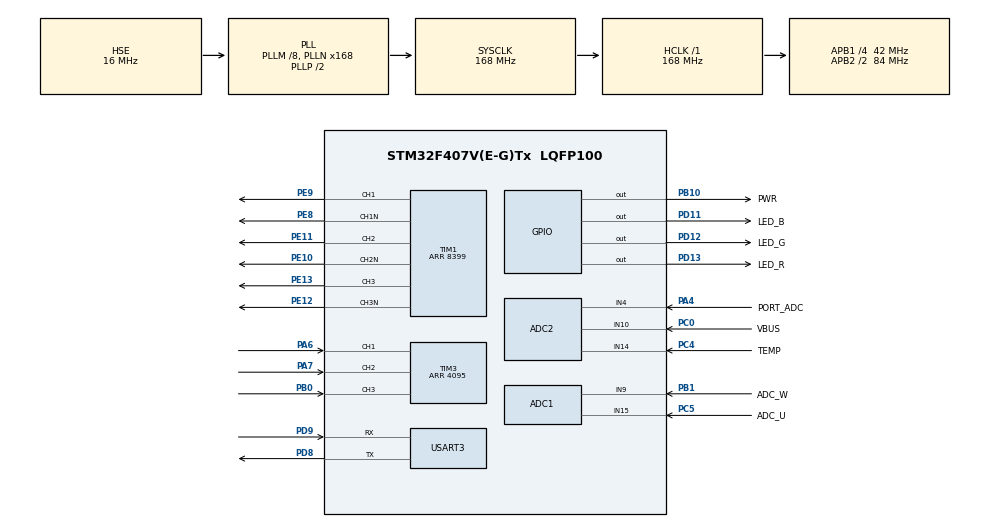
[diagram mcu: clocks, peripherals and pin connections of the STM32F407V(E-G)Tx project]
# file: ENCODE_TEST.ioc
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ADC1.Channel-0\#ChannelRegularConversion=ADC_CHANNEL_9
ADC1.Channel-5\#ChannelInjectedConversion=ADC_CHANNEL_15
ADC1.Channel-6\#ChannelInjectedConversion=ADC_CHANNEL_9
ADC1.ContinuousConvMode=DISABLE
ADC1.DMAContinuousRequests=DISABLE
ADC1.ExternalTrigInjecConv=ADC_EXTERNALTRIGINJECCONV_T1_TRGO
ADC1.InjNumberOfConversion=2
ADC1.InjectedConvMode=None
ADC1.InjectedOffset-5\#ChannelInjectedConversion=0
ADC1.InjectedOffset-6\#ChannelInjectedConversion=0
ADC1.InjectedRank-5\#ChannelInjectedConversion=1
ADC1.InjectedRank-6\#ChannelInjectedConversion=2
ADC1.NbrOfConversion=1
ADC1.NbrOfConversionFlag=1
ADC1.Rank-0\#ChannelRegularConversion=1
ADC1.SamplingTime-0\#ChannelRegularConversion=ADC_SAMPLETIME_56CYCLES
ADC1.SamplingTime-5\#ChannelInjectedConversion=ADC_SAMPLETIME_56CYCLES
ADC1.SamplingTime-6\#ChannelInjectedConversion=ADC_SAMPLETIME_56CYCLES
ADC1.ScanConvMode=ENABLE
ADC1.master=1
ADC2.Channel-0\#ChannelRegularConversion=ADC_CHANNEL_14
ADC2.Channel-1\#ChannelRegularConversion=ADC_CHANNEL_10
ADC2.Channel-2\#ChannelRegularConversion=ADC_CHANNEL_4
ADC2.ContinuousConvMode=ENABLE
ADC2.DMAContinuousRequests=ENABLE
ADC2.NbrOfConversion=3
ADC2.NbrOfConversionFlag=1
ADC2.Rank-0\#ChannelRegularConversion=1
ADC2.Rank-1\#ChannelRegularConversion=2
ADC2.Rank-2\#ChannelRegularConversion=3
ADC2.SamplingTime-0\#ChannelRegularConversion=ADC_SAMPLETIME_56CYCLES
ADC2.SamplingTime-1\#ChannelRegularConversion=ADC_SAMPLETIME_56CYCLES
ADC2.SamplingTime-2\#ChannelRegularConversion=ADC_SAMPLETIME_56CYCLES
Dma.ADC2.2.Direction=DMA_PERIPH_TO_MEMORY
Dma.ADC2.2.FIFOMode=DMA_FIFOMODE_DISABLE
Dma.ADC2.2.Instance=DMA2_Stream2
Dma.ADC2.2.MemDataAlignment=DMA_MDATAALIGN_HALFWORD
Dma.ADC2.2.MemInc=DMA_MINC_ENABLE
Dma.ADC2.2.Mode=DMA_CIRCULAR
Dma.ADC2.2.PeriphDataAlignment=DMA_PDATAALIGN_HALFWORD
Dma.ADC2.2.PeriphInc=DMA_PINC_DISABLE
Dma.ADC2.2.Priority=DMA_PRIORITY_LOW
Dma.Request0=USART3_RX
Dma.Request1=USART3_TX
Dma.Request2=ADC2
Dma.USART3_RX.0.Direction=DMA_PERIPH_TO_MEMORY
Dma.USART3_RX.0.FIFOMode=DMA_FIFOMODE_DISABLE
Dma.USART3_RX.0.Instance=DMA1_Stream1
Dma.USART3_RX.0.MemDataAlignment=DMA_MDATAALIGN_BYTE
Dma.USART3_RX.0.MemInc=DMA_MINC_ENABLE
Dma.USART3_RX.0.Mode=DMA_NORMAL
Dma.USART3_RX.0.PeriphDataAlignment=DMA_PDATAALIGN_BYTE
Dma.USART3_RX.0.PeriphInc=DMA_PINC_DISABLE
Dma.USART3_RX.0.Priority=DMA_PRIORITY_LOW
Dma.USART3_TX.1.Direction=DMA_MEMORY_TO_PERIPH
Dma.USART3_TX.1.FIFOMode=DMA_FIFOMODE_DISABLE
Dma.USART3_TX.1.Instance=DMA1_Stream3
Dma.USART3_TX.1.MemDataAlignment=DMA_MDATAALIGN_BYTE
Dma.USART3_TX.1.MemInc=DMA_MINC_ENABLE
Dma.USART3_TX.1.Mode=DMA_NORMAL
Dma.USART3_TX.1.PeriphDataAlignment=DMA_PDATAALIGN_BYTE
Dma.USART3_TX.1.PeriphInc=DMA_PINC_DISABLE
Dma.USART3_TX.1.Priority=DMA_PRIORITY_LOW
Mcu.Family=STM32F4
Mcu.Name=STM32F407V(E-G)Tx
Mcu.Package=LQFP100
NVIC.ADC_IRQn=true\:0\:0\:false\:false\:true\:true\:true\:true
NVIC.DMA1_Stream1_IRQn=true\:0\:0\:false\:false\:true\:false\:true\:true
NVIC.DMA1_Stream3_IRQn=true\:0\:0\:false\:false\:true\:false\:true\:true
NVIC.DMA2_Stream2_IRQn=true\:0\:0\:false\:false\:true\:false\:true\:true
NVIC.PriorityGroup=NVIC_PRIORITYGROUP_4
NVIC.TIM1_UP_TIM10_IRQn=true\:0\:0\:false\:false\:true\:true\:true\:true
NVIC.TIM3_IRQn=true\:0\:0\:false\:false\:true\:true\:true\:true
NVIC.USART3_IRQn=true\:0\:0\:false\:false\:true\:true\:true\:true
PA13.Mode=Serial_Wire
PA13.Signal=SYS_JTMS-SWDIO
PA14.Mode=Serial_Wire
PA14.Signal=SYS_JTCK-SWCLK
PA4.GPIO_Label=PORT_ADC
PA4.Signal=ADCx_IN4
PA6.Signal=S_TIM3_CH1
PA7.Signal=S_TIM3_CH2
PB0.Signal=S_TIM3_CH3
PB1.GPIO_Label=ADC_W
PB1.Signal=ADCx_IN9
PB10.GPIO_Label=PWR
PB10.PinState=GPIO_PIN_SET
PB10.Signal=GPIO_Output
PC0.GPIO_Label=VBUS
PC0.Signal=ADCx_IN10
PC4.GPIO_Label=TEMP
PC4.Signal=ADCx_IN14
PC5.GPIO_Label=ADC_U
PC5.Signal=ADCx_IN15
PD11.GPIO_Label=LED_B
PD11.PinState=GPIO_PIN_SET
PD11.Signal=GPIO_Output
PD12.GPIO_Label=LED_G
PD12.PinState=GPIO_PIN_SET
PD12.Signal=GPIO_Output
PD13.GPIO_Label=LED_R
PD13.PinState=GPIO_PIN_SET
PD13.Signal=GPIO_Output
PD8.Mode=Asynchronous
PD8.Signal=USART3_TX
PD9.Mode=Asynchronous
PD9.Signal=USART3_RX
PE10.Mode=PWM Generation2 CH2 CH2N
PE10.Signal=TIM1_CH2N
PE11.Signal=S_TIM1_CH2
PE12.Mode=PWM Generation3 CH3 CH3N
PE12.Signal=TIM1_CH3N
PE13.Signal=S_TIM1_CH3
PE8.Mode=PWM Generation1 CH1 CH1N
PE8.Signal=TIM1_CH1N
PE9.Signal=S_TIM1_CH1
PH0-OSC_IN.Mode=HSE-External-Oscillator
PH0-OSC_IN.Signal=RCC_OSC_IN
PH1-OSC_OUT.Mode=HSE-External-Oscillator
PH1-OSC_OUT.Signal=RCC_OSC_OUT
ProjectManager.HeapSize=0x200
ProjectManager.StackSize=0x400
ProjectManager.TargetToolchain=Makefile
RCC.48MHZClocksFreq_Value=84000000
RCC.AHBFreq_Value=168000000
RCC.APB1CLKDivider=RCC_HCLK_DIV4
RCC.APB1Freq_Value=42000000
RCC.APB1TimFreq_Value=84000000
RCC.APB2CLKDivider=RCC_HCLK_DIV2
RCC.APB2Freq_Value=84000000
RCC.APB2TimFreq_Value=168000000
RCC.CortexFreq_Value=168000000
RCC.HCLKFreq_Value=168000000
RCC.HSE_VALUE=16000000
RCC.HSI_VALUE=16000000
RCC.LSE_VALUE=32768
RCC.PLLM=8
RCC.PLLN=168
RCC.PLLSourceVirtual=RCC_PLLSOURCE_HSE
RCC.SYSCLKFreq_VALUE=168000000
RCC.SYSCLKSource=RCC_SYSCLKSOURCE_PLLCLK
RCC.VCOOutputFreq_Value=336000000
SH.ADCx_IN10.0=ADC2_IN10,IN10
SH.ADCx_IN14.0=ADC2_IN14,IN14
SH.ADCx_IN15.0=ADC1_IN15,IN15
SH.ADCx_IN4.0=ADC2_IN4,IN4
SH.ADCx_IN9.0=ADC1_IN9,IN9
SH.S_TIM1_CH1.0=TIM1_CH1,PWM Generation1 CH1 CH1N
SH.S_TIM1_CH2.0=TIM1_CH2,PWM Generation2 CH2 CH2N
SH.S_TIM1_CH3.0=TIM1_CH3,PWM Generation3 CH3 CH3N
SH.S_TIM3_CH1.0=TIM3_CH1,Encoder_Interface
SH.S_TIM3_CH2.0=TIM3_CH2,Encoder_Interface
SH.S_TIM3_CH3.0=TIM3_CH3,Input_Capture3_from_TI3
TIM1.Channel-PWM\ Generation1\ CH1\ CH1N=TIM_CHANNEL_1
TIM1.Channel-PWM\ Generation2\ CH2\ CH2N=TIM_CHANNEL_2
TIM1.Channel-PWM\ Generation3\ CH3\ CH3N=TIM_CHANNEL_3
TIM1.CounterMode=TIM_COUNTERMODE_CENTERALIGNED1
TIM1.DeadTime=100
TIM1.OCMode_PWM-PWM\ Generation1\ CH1\ CH1N=TIM_OCMODE_PWM2
TIM1.OCMode_PWM-PWM\ Generation2\ CH2\ CH2N=TIM_OCMODE_PWM2
TIM1.OCMode_PWM-PWM\ Generation3\ CH3\ CH3N=TIM_OCMODE_PWM2
TIM1.Period=8399
TIM1.TIM_MasterOutputTrigger=TIM_TRGO_UPDATE
TIM3.Channel-Input_Capture3_from_TI3=TIM_CHANNEL_3
TIM3.EncoderMode=TIM_ENCODERMODE_TI12
TIM3.IC1Filter=7
TIM3.IC2Filter=7
TIM3.ICFilter_CH3=7
TIM3.Period=4095
USART3.VirtualMode=VM_ASYNC
VP_TIM1_VS_ClockSourceINT.Mode=Internal
board=custom

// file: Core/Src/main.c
/* USER CODE BEGIN Header */
/**
  ******************************************************************************
  * @file           : main.c
  * @brief          : Main program body
  ******************************************************************************
  * @attention
  *
  * Copyright (c) 2026 STMicroelectronics.
  * All rights reserved.
  *
  * This software is licensed under terms that can be found in the LICENSE file
  * in the root directory of this software component.
  * If no LICENSE file comes with this software, it is provided AS-IS.
  *
  ******************************************************************************
  */
/* USER CODE END Header */
#include "main.h"
#include "adc.h"
#include "dma.h"
#include "tim.h"
#include "usart.h"
#include "gpio.h"

/* USER CODE BEGIN Includes */
#include <stdio.h>
#include "encoder.h"
#include "foc.h"
#include "motor_para.h"
#include "motor_ctrl.h"
#include "init.h"
#include "adc_drv.h"
/* USER CODE END Includes */

/* USER CODE BEGIN PV */
/* Z 相中断与主循环共享的变量 */
volatile uint8_t  encoder_z_found = 0;
volatile uint16_t encoder_z_offset = 0;
volatile uint16_t encoder_z_last_capture = 0;
volatile uint32_t encoder_z_events = 0;

/* USER CODE END PV */

void SystemClock_Config(void);

int main(void)
{

  /* MCU Configuration--------------------------------------------------------*/

  /* Reset of all peripherals, Initializes the Flash interface and the Systick. */
  HAL_Init();

  /* Configure the system clock */
  SystemClock_Config();

  /* Initialize all configured peripherals */
  MX_GPIO_Init();
  MX_DMA_Init();
  MX_TIM3_Init();
  MX_USART3_UART_Init();
  MX_TIM1_Init();
  MX_ADC1_Init();
  MX_ADC2_Init();
  /* USER CODE BEGIN 2 */
  ALL_Init();
  __HAL_TIM_CLEAR_FLAG(&htim1, TIM_FLAG_UPDATE);
if (HAL_TIM_Base_Start_IT(&htim1) != HAL_OK)
{
    Error_Handler();
}
  /* USER CODE END 2 */

  /* Infinite loop */
  while (1)
  {

    /* USER CODE BEGIN 3 */
    LED_B_Toggle();
    // App_EncoderReport();
    //  shell_send("%d %d %d %d\r\n",AdcFilPara.OffsetCurU,AdcFilPara.OffsetCurW,Inj_Current[0],Inj_Current[1]);
    shell_send("%.3f,%.3f,%.3f,%.3f\r\n",AdcFilPara.CurU,AdcFilPara.CurV,AdcFilPara.CurW,AdcPara.Vr);
  HAL_Delay(10);
  }
  /* USER CODE END 3 */
}

void SystemClock_Config(void)
{
  RCC_OscInitTypeDef RCC_OscInitStruct = {0};
  RCC_ClkInitTypeDef RCC_ClkInitStruct = {0};

  /** Configure the main internal regulator output voltage
  */
  __HAL_RCC_PWR_CLK_ENABLE();
  __HAL_PWR_VOLTAGESCALING_CONFIG(PWR_REGULATOR_VOLTAGE_SCALE1);

  /** Initializes the RCC Oscillators according to the specified parameters
  * in the RCC_OscInitTypeDef structure.
  */
  RCC_OscInitStruct.OscillatorType = RCC_OSCILLATORTYPE_HSE;
  RCC_OscInitStruct.HSEState = RCC_HSE_ON;
  RCC_OscInitStruct.PLL.PLLState = RCC_PLL_ON;
  RCC_OscInitStruct.PLL.PLLSource = RCC_PLLSOURCE_HSE;
  RCC_OscInitStruct.PLL.PLLM = 8;
  RCC_OscInitStruct.PLL.PLLN = 168;
  RCC_OscInitStruct.PLL.PLLP = RCC_PLLP_DIV2;
  RCC_OscInitStruct.PLL.PLLQ = 4;
  if (HAL_RCC_OscConfig(&RCC_OscInitStruct) != HAL_OK)
  {
    Error_Handler();
  }

  /** Initializes the CPU, AHB and APB buses clocks
  */
  RCC_ClkInitStruct.ClockType = RCC_CLOCKTYPE_HCLK|RCC_CLOCKTYPE_SYSCLK
                              |RCC_CLOCKTYPE_PCLK1|RCC_CLOCKTYPE_PCLK2;
  RCC_ClkInitStruct.SYSCLKSource = RCC_SYSCLKSOURCE_PLLCLK;
  RCC_ClkInitStruct.AHBCLKDivider = RCC_SYSCLK_DIV1;
  RCC_ClkInitStruct.APB1CLKDivider = RCC_HCLK_DIV4;
  RCC_ClkInitStruct.APB2CLKDivider = RCC_HCLK_DIV2;

  if (HAL_RCC_ClockConfig(&RCC_ClkInitStruct, FLASH_LATENCY_5) != HAL_OK)
  {
    Error_Handler();
  }
}

void Error_Handler(void)
{
  __disable_irq();
  while (1)
  {
  }
}
